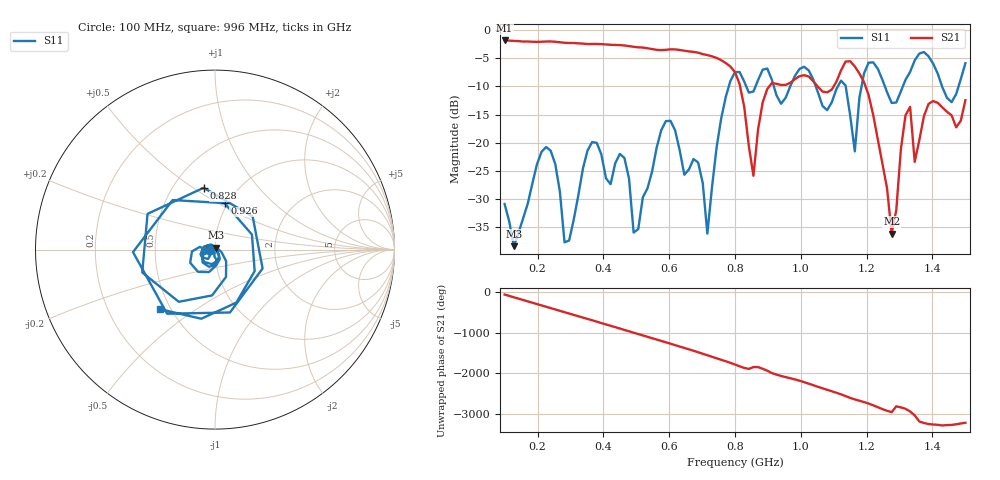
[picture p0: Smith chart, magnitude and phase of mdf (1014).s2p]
! NanoVNA-App
! Date: 2025-09-25 15:46:18
! Start: 100MHz Stop: 1,5GHz Points: 101
! S-Parameter data: F S11 S21 S12 S22
# Hz S RI R 50
!  Frequency  S11_Real  S11_Imag  S21_Real  S21_Imag  S12_Real  S12_Imag  S22_Real  S22_Imag
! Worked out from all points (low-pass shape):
!   101 points, 100 MHz to 1.5 GHz, reference 50 ohm
!   highest |S21| = -1.81 dB at 100 MHz (marker M1); lowest = -36.2 dB at 1.276 GHz (marker M2)
!   |S21| within 3 dB of the highest: start of sweep to 738.9 MHz
!   lowest |S11| = -38.4 dB at 128 MHz (marker M3), VSWR 1.02, Z = 50.4 + j1.13 ohm
!   |S11| at or under -10 dB: start of sweep to 781.1 MHz; 1.046 GHz to 1.112 GHz (66.85 MHz wide, 6.2 % of centre); 1.255 GHz to 1.31 GHz (54.42 MHz wide, 4.24 % of centre) (the widest 3 of 7)
!   S12 and S22 are empty: the file has one direction only
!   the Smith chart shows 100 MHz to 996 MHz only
!   S11 on the Smith chart (normalised r, x): 100 MHz: 0.95, -0.01; 828 MHz: 0.70, +0.55; 926 MHz: 0.97, +0.54; 996 MHz: 0.44, -0.36
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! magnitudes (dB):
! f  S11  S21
! 100 MHz  -30.9  -1.8
! 128 MHz  -38.4  -1.9
! 212 MHz  -21.6  -2.0
! 282 MHz  -37.7  -2.2
! 338 MHz  -24.6  -2.4
! 464 MHz  -22.7  -2.7
! 492 MHz  -36.0  -2.9
! 576 MHz  -17.8  -3.5
! 688 MHz  -23.5  -4.0
! 716 MHz  -36.2  -4.4
! 800 MHz  -7.4  -7.4
! 828 MHz  -9.1  -13.6
! 856 MHz  -10.9  -25.9
! 926 MHz  -11.6  -9.5
! 996 MHz  -6.9  -8.2
! 1.038 GHz  -8.8  -9.1
! 1.164 GHz  -21.6  -6.4
! 1.192 GHz  -7.7  -9.2
! 1.276 GHz  -12.9  -36.2
! 1.332 GHz  -7.4  -13.6
! 1.346 GHz  -5.4  -23.4
! 1.5 GHz  -5.9  -12.4
